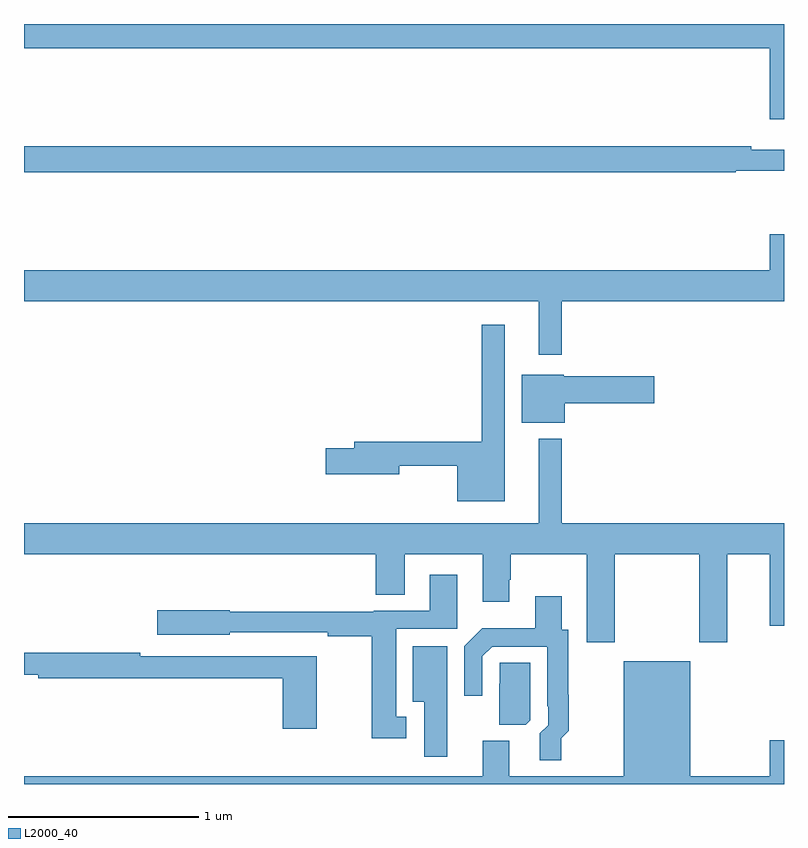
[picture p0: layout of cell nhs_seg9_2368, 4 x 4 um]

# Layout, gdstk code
import gdstk
lib = gdstk.Library(unit=1e-6, precision=1e-09)
def P(c, l, *ps):  # polygons
    for p in ps: c.add(gdstk.Polygon(p, *l))
L2000_40 = (2000, 40)

nhs_seg9_2368 = lib.new_cell('nhs_seg9_2368')
P(nhs_seg9_2368, L2000_40, [(245,1244.372),(248.924,1244.372),(248.924,1243.998),(249,1243.998),(249,1244.5),(245,1244.5)],
  [(248.745,1243.728),(249,1243.728),(249,1243.837),(248.828,1243.837),(248.828,1243.856),(245,1243.856),(245,1243.72),(248.745,1243.72)],
  [(247.831,1243.04),(249,1243.04),(249,1243.393),(248.924,1243.393),(248.924,1243.204),(245,1243.204),(245,1243.04),(247.709,1243.04),(247.709,1242.759),(247.831,1242.759)],
  [(247.531,1242.916),(247.41,1242.916),(247.41,1242.302),(246.737,1242.302),(246.737,1242.266),(246.588,1242.266),(246.588,1242.131),(246.976,1242.131),(246.976,1242.174),(247.28,1242.174),(247.28,1241.987),(247.531,1241.987)],
  [(247.846,1242.503),(248.317,1242.503),(248.317,1242.645),(247.842,1242.645),(247.842,1242.655),(247.619,1242.655),(247.619,1242.401),(247.846,1242.401)],
  [(248.109,1241.708),(248.554,1241.708),(248.554,1241.247),(248.701,1241.247),(248.701,1241.708),(248.924,1241.708),(248.924,1241.334),(249,1241.334),(249,1241.872),(247.831,1241.872),(247.831,1242.316),(247.709,1242.316),(247.709,1241.872),(245,1241.872),(245,1241.708),(246.851,1241.708),(246.851,1241.497),(247.003,1241.497),(247.003,1241.708),(247.415,1241.708),(247.415,1241.46),(247.555,1241.46),(247.555,1241.575),(247.563,1241.575),(247.563,1241.708),(247.961,1241.708),(247.961,1241.247),(248.109,1241.247)],
  [(247.012,1240.853),(246.958,1240.853),(246.958,1241.316),(247.279,1241.316),(247.279,1241.602),(247.136,1241.602),(247.136,1241.412),(246.84,1241.412),(246.84,1241.407),(246.084,1241.407),(246.084,1241.415),(245.7,1241.415),(245.7,1241.285),(246.084,1241.285),(246.084,1241.298),(246.598,1241.298),(246.598,1241.278),(246.829,1241.278),(246.829,1240.74),(247.012,1240.74)],
  [(247.828,1240.742),(247.866,1240.78),(247.866,1240.97),(247.864,1240.97),(247.864,1241.313),(247.831,1241.313),(247.831,1241.488),(247.691,1241.488),(247.691,1241.32),(247.411,1241.32),(247.317,1241.226),(247.317,1240.965),(247.413,1240.965),(247.413,1241.172),(247.464,1241.223),(247.755,1241.223),(247.755,1240.909),(247.758,1240.909),(247.758,1240.809),(247.715,1240.766),(247.715,1240.626),(247.828,1240.626)],
  [(247.228,1241.224),(247.046,1241.224),(247.046,1240.934),(247.106,1240.934),(247.106,1240.644),(247.228,1240.644)],
  [(246.54,1241.172),(245.612,1241.172),(245.612,1241.192),(245,1241.192),(245,1241.076),(245.074,1241.076),(245.074,1241.056),(246.362,1241.056),(246.362,1240.791),(246.54,1240.791)],
  [(249,1240.729),(248.924,1240.729),(248.924,1240.54),(248.506,1240.54),(248.506,1241.146),(248.156,1241.146),(248.156,1240.54),(247.555,1240.54),(247.555,1240.728),(247.415,1240.728),(247.415,1240.54),(245,1240.54),(245,1240.5),(249,1240.5)],
  [(247.665,1240.836),(247.665,1241.138),(247.503,1241.138),(247.503,1241.027),(247.502,1241.027),(247.502,1240.813),(247.641,1240.813)])

lib.write_gds('nhs_seg9_2368.gds')
